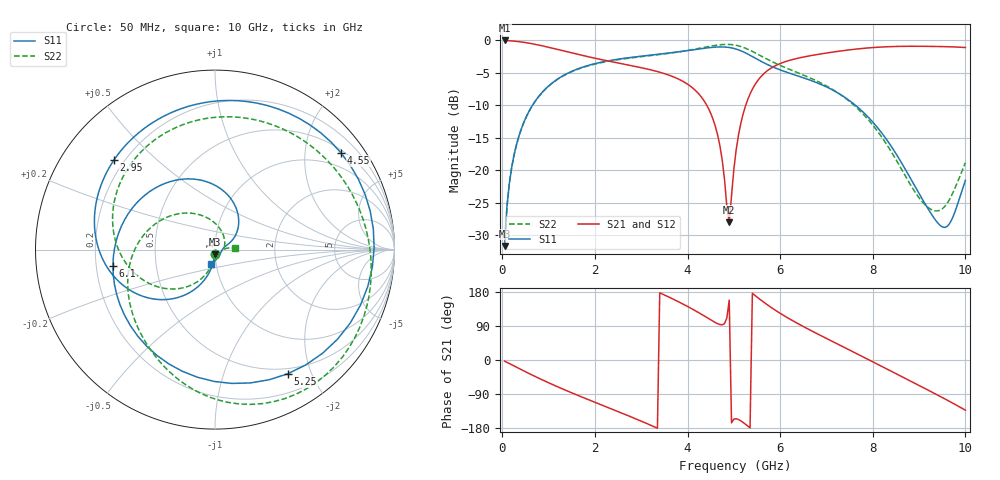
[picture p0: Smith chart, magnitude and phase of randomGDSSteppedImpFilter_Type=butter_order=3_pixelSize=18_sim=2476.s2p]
! freq	dB(S11)	phase(S11)	dB(S12)	phase(S12)
!  dB(S21)	phase(S21)	dB(S22)	phase(S22)
!S-par simulation data
#  GHz  S  DB  R 50
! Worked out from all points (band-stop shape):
!   200 points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, 50 MHz to 10 GHz, reference 50 ohm
!   highest |S21| = -0.01 dB at 50 MHz (marker M1); lowest = -28.0 dB at 4.9 GHz (marker M2)
!   |S21| within 3 dB of the highest: start of sweep to 2.175 GHz; 6.234 GHz to end of sweep
!   lowest |S11| = -31.6 dB at 50 MHz (marker M3), VSWR 1.05, Z = 49.8 - j2.61 ohm
!   |S11| at or under -10 dB: start of sweep to 650.5 MHz; 7.628 GHz to end of sweep
!   |S22| runs from -31.7 to -0.6 dB; largest |S21 - S12| = 0
!   S11 on the Smith chart (normalised r, x): 50 MHz: 1.00, -0.05; 2.95 GHz: 0.16, +0.37; 4.55 GHz: 0.57, +2.84; 5.25 GHz: 0.43, -1.66; 6.1 GHz: 0.27, -0.07; 10 GHz: 0.95, -0.15
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0.05  -31.64 -92.7  -0.01 -3.1  -0.01 -3.1  -31.66 -93.5
0.2  -19.66 -101.1  -0.08 -12.5  -0.08 -12.5  -19.68 -104.3
0.5  -12.03 -117.3  -0.33 -31.0  -0.33 -31.0  -12.06 -125.5
1.1  -6.43 -146.8  -1.23 -65.6  -1.23 -65.6  -6.46 -165.4
1.75  -4.08 -174.4  -2.35 -99.3  -2.35 -99.3  -4.14 154.8
2.95  -2.47 138.4  -4.12 -158.7  -4.12 -158.7  -2.55 82.6
3.4  -2.11 118.5  -4.89 177.3  -4.89 177.3  -2.17 54.2
4.1  -1.47 77.6  -7.26 134.7  -7.26 134.7  -1.43 8.0
4.55  -1.06 37.5  -12.12 102.4  -12.12 102.4  -0.82 -24.4
4.75  -1.00 13.9  -18.47 92.9  -18.47 92.9  -0.64 -40.1
4.9  -1.09 -6.3  -27.98 158.0  -27.98 158.0  -0.62 -52.4
5.05  -1.34 -28.5  -16.85 -155.0  -16.85 -155.0  -0.76 -64.9
5.25  -1.92 -59.6  -10.12 -169.4  -10.12 -169.4  -1.20 -81.0
5.45  -2.68 -90.3  -6.88 171.0  -6.88 171.0  -1.88 -95.6
5.7  -3.62 -125.4  -4.80 147.7  -4.80 147.7  -2.82 -111.2
6.1  -4.80 -171.0  -3.30 115.8  -3.30 115.8  -4.16 -132.6
6.7  -6.26 138.2  -2.29 75.6  -2.29 75.6  -5.94 -163.7
7.6  -9.83 79.6  -1.37 20.0  -1.37 20.0  -10.01 144.1
8.35  -15.78 40.1  -0.97 -26.6  -0.97 -26.6  -16.56 90.6
8.95  -22.95 20.6  -0.90 -64.1  -0.90 -64.1  -23.73 32.9
9.5  -28.70 -18.7  -0.95 -99.0  -0.95 -99.0  -25.93 2.9
10  -21.53 -105.1  -1.10 -132.5  -1.10 -132.5  -18.83 4.0
